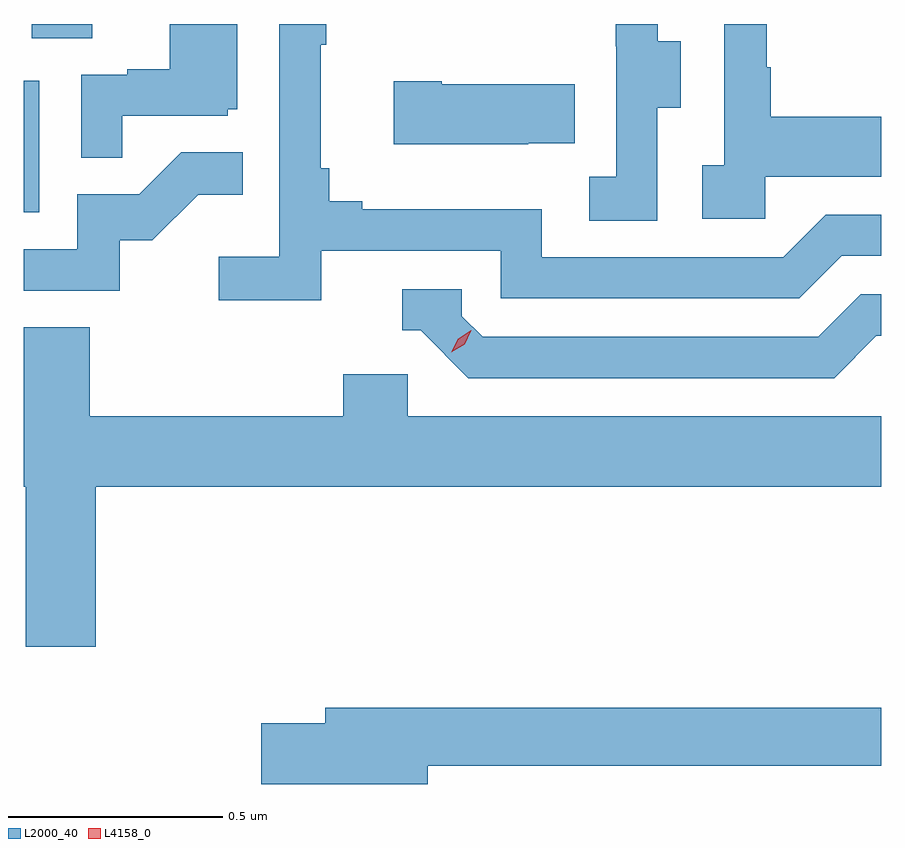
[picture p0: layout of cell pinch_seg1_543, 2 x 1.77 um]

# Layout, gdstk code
import gdstk
lib = gdstk.Library(unit=1e-6, precision=1e-09)
def R(c, l, rs):  # rectangles x0, y0, x1, y1
    for r in rs: c.add(gdstk.rectangle(r[:2], r[2:], *l))
def P(c, l, *ps):  # polygons
    for p in ps: c.add(gdstk.Polygon(p, *l))
L2000_40 = (2000, 40)
L4158_0 = (4158, 0)

pinch_seg1_543 = lib.new_cell('pinch_seg1_543')
R(pinch_seg1_543, L2000_40, [(1016.152,531.06,1016.188,531.367), (1016.171,531.466,1016.311,531.499)])
P(pinch_seg1_543, L2000_40, [(1016.381,531.285),(1016.628,531.285),(1016.628,531.3),(1016.65,531.3),(1016.65,531.499),(1016.492,531.499),(1016.492,531.394),(1016.393,531.394),(1016.393,531.381),(1016.286,531.381),(1016.286,531.187),(1016.381,531.187)],
  [(1017.882,531.143),(1018.152,531.143),(1018.152,531.283),(1017.895,531.283),(1017.895,531.398),(1017.885,531.398),(1017.885,531.499),(1017.786,531.499),(1017.786,531.17),(1017.735,531.17),(1017.735,531.045),(1017.882,531.045)],
  [(1017.63,531.304),(1017.685,531.304),(1017.685,531.459),(1017.631,531.459),(1017.631,531.499),(1017.533,531.499),(1017.533,531.447),(1017.534,531.447),(1017.534,531.143),(1017.471,531.143),(1017.471,531.04),(1017.63,531.04)],
  [(1016.846,530.97),(1017.264,530.97),(1017.264,530.859),(1017.961,530.859),(1018.06,530.958),(1018.152,530.958),(1018.152,531.054),(1018.023,531.054),(1017.924,530.955),(1017.36,530.955),(1017.36,531.067),(1016.941,531.067),(1016.941,531.086),(1016.864,531.086),(1016.864,531.163),(1016.845,531.163),(1016.845,531.451),(1016.857,531.451),(1016.857,531.499),(1016.748,531.499),(1016.748,530.956),(1016.607,530.956),(1016.607,530.854),(1016.846,530.854)],
  [(1017.329,531.221),(1017.437,531.221),(1017.437,531.358),(1017.127,531.358),(1017.127,531.366),(1017.015,531.366),(1017.015,531.218),(1017.329,531.218)],
  [(1016.376,530.994),(1016.452,530.994),(1016.559,531.101),(1016.663,531.101),(1016.663,531.2),(1016.519,531.2),(1016.421,531.102),(1016.277,531.102),(1016.277,530.973),(1016.152,530.973),(1016.152,530.877),(1016.376,530.877)],
  [(1018.141,530.772),(1018.152,530.772),(1018.152,530.868),(1018.104,530.868),(1018.005,530.769),(1017.222,530.769),(1017.174,530.817),(1017.174,530.88),(1017.035,530.88),(1017.035,530.784),(1017.078,530.784),(1017.189,530.673),(1018.042,530.673)],
  [(1016.32,530.42),(1018.152,530.42),(1018.152,530.584),(1017.048,530.584),(1017.048,530.682),(1016.897,530.682),(1016.897,530.584),(1016.306,530.584),(1016.306,530.792),(1016.152,530.792),(1016.152,530.42),(1016.156,530.42),(1016.156,530.046),(1016.32,530.046)],
  [(1017.094,529.768),(1018.152,529.768),(1018.152,529.904),(1016.855,529.904),(1016.855,529.868),(1016.706,529.868),(1016.706,529.726),(1017.094,529.726)])
P(pinch_seg1_543, L4158_0, [(1017.149,530.733),(1017.149,530.733),(1017.165,530.765),(1017.196,530.785),(1017.196,530.785),(1017.196,530.784),(1017.18,530.752),(1017.149,530.733)])

lib.write_gds('pinch_seg1_543.gds')
